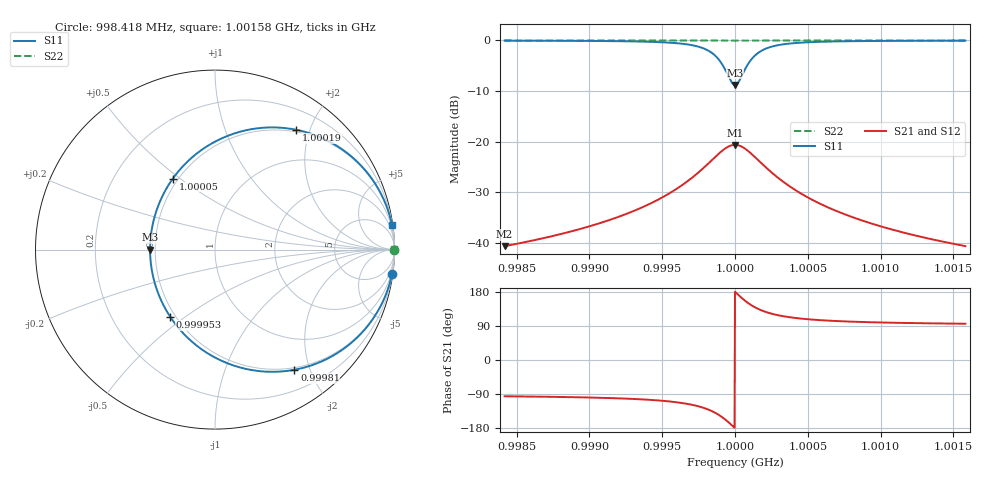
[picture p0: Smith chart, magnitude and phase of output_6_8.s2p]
! File generated for n1 = 6, n2 = 8
! b1 = 2.154435
! b2 = 0.010000
! Q0 = 10000.000000
! f0 = 1000000000.000000
! n = 1001
! rel_span = 10.000000
# Hz S RI R 50
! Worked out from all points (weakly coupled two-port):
!   1001 points, 998.418 MHz to 1.00158 GHz, reference 50 ohm
!   highest |S21| = -20.65 dB at 1 GHz (marker M1); lowest = -40.7 dB at 998.418 MHz (marker M2)
!   lowest |S11| = -8.8 dB at 1 GHz (marker M3), VSWR 2.13, Z = 23.4 + j0 ohm
!   |S11| at or under -10 dB: nowhere
!   |S22| runs from -0.1 to 0.0 dB; largest |S21 - S12| = 0
!   S11 on the Smith chart (normalised r, x): 998.418 MHz: 0, -15; 999.81 MHz: 0.47, -1.76; 999.953 MHz: 0.47, -0.44; 1.00005 GHz: 0.47, +0.47; 1.00019 GHz: 0.47, +1.79; 1.00158 GHz: 0, +15
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9.984178e8  0.9865 -0.1347  -0.000917 -0.00918  -0.000917 -0.00918  0.9999 -0.000625
9.989462e8  0.97 -0.1998  -0.00204 -0.0136  -0.00204 -0.0136  0.9999 -0.000928
9.992469e8  0.9425 -0.2739  -0.00392 -0.0187  -0.00392 -0.0187  0.9997 -0.00127
9.994747e8  0.8868 -0.3759  -0.00771 -0.0256  -0.00771 -0.0256  0.9995 -0.00174
9.996772e8  0.7363 -0.5381  -0.018 -0.0367  -0.018 -0.0367  0.9988 -0.0025
9.9975e8  0.6106 -0.6153  -0.0265 -0.0419  -0.0265 -0.0419  0.9982 -0.00286
9.998101e8  0.442 -0.6697  -0.038 -0.0456  -0.038 -0.0456  0.9974 -0.00311
9.998892e8  0.0862 -0.6397  -0.0623 -0.0436  -0.0623 -0.0436  0.9958 -0.00297
9.999209e8  -0.0893 -0.5447  -0.0742 -0.0371  -0.0742 -0.0371  0.9949 -0.00253
9.999525e8  -0.2492 -0.3748  -0.0851 -0.0255  -0.0851 -0.0255  0.9942 -0.00174
1e9  -0.3617 0  -0.0928 0  -0.0928 0  0.9937 0
1.000025e9  -0.3277 0.2124  -0.0905 0.0145  -0.0905 0.0145  0.9938 0.000986
1.000051e9  -0.2352 0.3952  -0.0842 0.0269  -0.0842 0.0269  0.9943 0.00183
1.000079e9  -0.0893 0.5446  -0.0742 0.0371  -0.0742 0.0371  0.9949 0.00253
1.000111e9  0.0861 0.6397  -0.0623 0.0436  -0.0623 0.0436  0.9958 0.00297
1.000146e9  0.2625 0.6785  -0.0502 0.0462  -0.0502 0.0462  0.9966 0.00315
1.000193e9  0.4527 0.6676  -0.0373 0.0455  -0.0373 0.0455  0.9975 0.0031
1.000253e9  0.6174 0.612  -0.0261 0.0417  -0.0261 0.0417  0.9982 0.00284
1.000326e9  0.7403 0.535  -0.0177 0.0364  -0.0177 0.0364  0.9988 0.00248
1.000528e9  0.8879 0.3742  -0.00764 0.0255  -0.00764 0.0255  0.9995 0.00174
1.001057e9  0.9701 0.1995  -0.00204 0.0136  -0.00204 0.0136  0.9999 0.000926
1.001582e9  0.9865 0.1349  -0.00092 0.00919  -0.00092 0.00919  0.9999 0.000626
